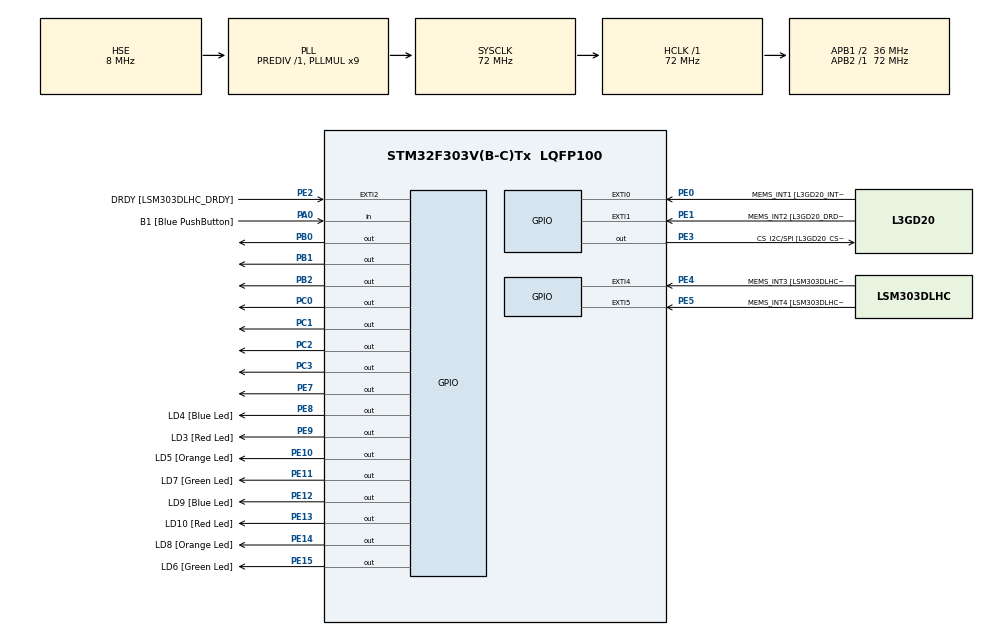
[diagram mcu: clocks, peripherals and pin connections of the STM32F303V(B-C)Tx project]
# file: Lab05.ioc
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Mcu.Family=STM32F3
Mcu.Name=STM32F303V(B-C)Tx
Mcu.Package=LQFP100
NVIC.PriorityGroup=NVIC_PRIORITYGROUP_0
PA0.GPIO_Label=B1 [Blue PushButton]
PA0.GPIO_Mode=GPIO_MODE_INPUT
PA0.GPIO_PuPd=GPIO_NOPULL
PA0.Signal=GPIO_Input
PA11.GPIO_Label=DM
PA11.Signal=USB_DM
PA12.GPIO_Label=DP
PA12.Signal=USB_DP
PA13.GPIO_Label=SWDIO
PA13.Signal=SYS_JTMS-SWDIO
PA14.GPIO_Label=SWCLK
PA14.Signal=SYS_JTCK-SWCLK
PA5.GPIO_Label=SPI1_SCK [L3GD20_SCL/SPC]
PA5.GPIO_Mode=GPIO_MODE_AF_PP
PA5.GPIO_PuPd=GPIO_NOPULL
PA5.GPIO_Speed=GPIO_SPEED_FREQ_LOW
PA5.Signal=SPI1_SCK
PA6.GPIO_Label=SPI1_MISO [L3GD20_SA0/SDO]
PA6.GPIO_Mode=GPIO_MODE_AF_PP
PA6.GPIO_PuPd=GPIO_NOPULL
PA6.GPIO_Speed=GPIO_SPEED_FREQ_LOW
PA6.Signal=SPI1_MISO
PA7.GPIO_Label=SPI1_MISO [L3GD20_SDA/SDI/SDO]
PA7.GPIO_Mode=GPIO_MODE_AF_PP
PA7.GPIO_PuPd=GPIO_NOPULL
PA7.GPIO_Speed=GPIO_SPEED_FREQ_LOW
PA7.Signal=SPI1_MOSI
PB0.Signal=GPIO_Output
PB1.Signal=GPIO_Output
PB2.Signal=GPIO_Output
PB3.GPIO_Label=SWO
PB3.Signal=SYS_JTDO-TRACESWO
PB6.GPIO_FM6=__NULL
PB6.GPIO_Label=I2C1_SCL [LSM303DLHC_SCL]
PB6.GPIO_Mode=GPIO_MODE_AF_OD
PB6.GPIO_PuPd=GPIO_NOPULL
PB6.GPIO_Speed=GPIO_SPEED_FREQ_LOW
PB6.Signal=I2C1_SCL
PB7.GPIO_FM7=__NULL
PB7.GPIO_Label=I2C1_SDA [LSM303DLHC_SDA]
PB7.GPIO_Mode=GPIO_MODE_AF_OD
PB7.GPIO_PuPd=GPIO_NOPULL
PB7.GPIO_Speed=GPIO_SPEED_FREQ_LOW
PB7.Signal=I2C1_SDA
PC0.Signal=GPIO_Output
PC1.Signal=GPIO_Output
PC14-OSC32_IN.GPIO_Label=OSC32_IN
PC14-OSC32_IN.Signal=RCC_OSC32_IN
PC15-OSC32_OUT.GPIO_Label=OSC32_OUT
PC15-OSC32_OUT.Signal=RCC_OSC32_OUT
PC2.Signal=GPIO_Output
PC3.Signal=GPIO_Output
PE0.GPIO_Label=MEMS_INT1 [L3GD20_INT1]
PE0.GPIO_ModeDefaultEXTI=GPIO_MODE_EVT_RISING
PE0.GPIO_PuPd=GPIO_NOPULL
PE0.Signal=GPXTI0
PE1.GPIO_Label=MEMS_INT2 [L3GD20_DRDY/INT2]
PE1.GPIO_ModeDefaultEXTI=GPIO_MODE_EVT_RISING
PE1.GPIO_PuPd=GPIO_NOPULL
PE1.Signal=GPXTI1
PE10.GPIO_Label=LD5 [Orange Led]
PE10.GPIO_ModeDefaultOutputPP=GPIO_MODE_OUTPUT_PP
PE10.GPIO_PuPd=GPIO_NOPULL
PE10.GPIO_Speed=GPIO_SPEED_FREQ_LOW
PE10.Signal=GPIO_Output
PE11.GPIO_Label=LD7 [Green Led]
PE11.GPIO_ModeDefaultOutputPP=GPIO_MODE_OUTPUT_PP
PE11.GPIO_PuPd=GPIO_NOPULL
PE11.GPIO_Speed=GPIO_SPEED_FREQ_LOW
PE11.Signal=GPIO_Output
PE12.GPIO_Label=LD9 [Blue Led]
PE12.GPIO_ModeDefaultOutputPP=GPIO_MODE_OUTPUT_PP
PE12.GPIO_PuPd=GPIO_NOPULL
PE12.GPIO_Speed=GPIO_SPEED_FREQ_LOW
PE12.Signal=GPIO_Output
PE13.GPIO_Label=LD10 [Red Led]
PE13.GPIO_ModeDefaultOutputPP=GPIO_MODE_OUTPUT_PP
PE13.GPIO_PuPd=GPIO_NOPULL
PE13.GPIO_Speed=GPIO_SPEED_FREQ_LOW
PE13.Signal=GPIO_Output
PE14.GPIO_Label=LD8 [Orange Led]
PE14.GPIO_ModeDefaultOutputPP=GPIO_MODE_OUTPUT_PP
PE14.GPIO_PuPd=GPIO_NOPULL
PE14.GPIO_Speed=GPIO_SPEED_FREQ_LOW
PE14.Signal=GPIO_Output
PE15.GPIO_Label=LD6 [Green Led]
PE15.GPIO_ModeDefaultOutputPP=GPIO_MODE_OUTPUT_PP
PE15.GPIO_PuPd=GPIO_NOPULL
PE15.GPIO_Speed=GPIO_SPEED_FREQ_LOW
PE15.Signal=GPIO_Output
PE2.GPIO_Label=DRDY [LSM303DLHC_DRDY]
PE2.GPIO_ModeDefaultEXTI=GPIO_MODE_EVT_RISING
PE2.GPIO_PuPd=GPIO_NOPULL
PE2.Signal=GPXTI2
PE3.GPIO_Label=CS_I2C/SPI [L3GD20_CS_I2C/SPI]
PE3.GPIO_ModeDefaultOutputPP=GPIO_MODE_OUTPUT_PP
PE3.GPIO_PuPd=GPIO_NOPULL
PE3.GPIO_Speed=GPIO_SPEED_FREQ_LOW
PE3.Signal=GPIO_Output
PE4.GPIO_Label=MEMS_INT3 [LSM303DLHC_INT1]
PE4.GPIO_ModeDefaultEXTI=GPIO_MODE_EVT_RISING
PE4.GPIO_PuPd=GPIO_NOPULL
PE4.Signal=GPXTI4
PE5.GPIO_Label=MEMS_INT4 [LSM303DLHC_INT2]
PE5.GPIO_ModeDefaultEXTI=GPIO_MODE_EVT_RISING
PE5.GPIO_PuPd=GPIO_NOPULL
PE5.Signal=GPXTI5
PE7.Signal=GPIO_Output
PE8.GPIO_Label=LD4 [Blue Led]
PE8.GPIO_ModeDefaultOutputPP=GPIO_MODE_OUTPUT_PP
PE8.GPIO_PuPd=GPIO_NOPULL
PE8.GPIO_Speed=GPIO_SPEED_FREQ_LOW
PE8.Signal=GPIO_Output
PE9.GPIO_Label=LD3 [Red Led]
PE9.GPIO_ModeDefaultOutputPP=GPIO_MODE_OUTPUT_PP
PE9.GPIO_PuPd=GPIO_NOPULL
PE9.GPIO_Speed=GPIO_SPEED_FREQ_LOW
PE9.Signal=GPIO_Output
PF0-OSC_IN.GPIO_Label=OSC_IN
PF0-OSC_IN.Mode=HSE-External-Clock-Source
PF0-OSC_IN.Signal=RCC_OSC_IN
PF1-OSC_OUT.GPIO_Label=OSC_OUT
PF1-OSC_OUT.Signal=RCC_OSC_OUT
ProjectManager.HeapSize=0x200
ProjectManager.StackSize=0x400
ProjectManager.TargetToolchain=MDK-ARM V5
RCC.AHBFreq_Value=72000000
RCC.APB1CLKDivider=RCC_HCLK_DIV2
RCC.APB1Freq_Value=36000000
RCC.APB1TimFreq_Value=72000000
RCC.APB2Freq_Value=72000000
RCC.APB2TimFreq_Value=72000000
RCC.CortexFreq_Value=72000000
RCC.HCLKFreq_Value=72000000
RCC.HSE_VALUE=8000000
RCC.HSI_VALUE=8000000
RCC.LSE_VALUE=32768
RCC.PLLMUL=RCC_PLL_MUL9
RCC.PLLSourceVirtual=RCC_PLLSOURCE_HSE
RCC.SYSCLKFreq_VALUE=72000000
RCC.SYSCLKSourceVirtual=RCC_SYSCLKSOURCE_PLLCLK
RCC.USBFreq_Value=72000000
board=STM32F3DISCOVERY

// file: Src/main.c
/* USER CODE BEGIN Header */
/**
  ******************************************************************************
  * @file           : main.c
  * @brief          : Main program body
  ******************************************************************************
  * @attention
  *
  * <h2><center>&copy; Copyright (c) 2019 STMicroelectronics.
  * All rights reserved.</center></h2>
  *
  * This software component is licensed by ST under BSD 3-Clause license,
  * the "License"; You may not use this file except in compliance with the
  * License. You may obtain a copy of the License at:
  *                        opensource.org/licenses/BSD-3-Clause
  *
  ******************************************************************************
  */
/* USER CODE END Header */

#include "main.h"

/* USER CODE BEGIN Includes */
#include "koibitoex_lcd2.h"
/* USER CODE END Includes */

void SystemClock_Config(void);
static void MX_GPIO_Init(void);

int main(void)
{

  /* MCU Configuration--------------------------------------------------------*/

  /* Reset of all peripherals, Initializes the Flash interface and the Systick. */
  HAL_Init();

  /* Configure the system clock */
  SystemClock_Config();

  /* Initialize all configured peripherals */
  MX_GPIO_Init();
  /* USER CODE BEGIN 2 */
	uint8_t Str1[] = "Cursor On";
	uint8_t Str2[20];
	uint16_t round = 1;

	LcdInit();
  /* USER CODE END 2 */

  /* Infinite loop */
  /* USER CODE BEGIN WHILE */
  while (1)
  {
		LcdCls(LCD_CLS_ALL);
    LcdSetCursor(LCD_CURSOR_OFF);
    LcdSetPosition(LCD_LINE_1, 0);
    LcdPutS((uint8_t *)"Hello Embedded!");
    HAL_Delay(2000);

    LcdCls(LCD_CLS_LINE_1);
    LcdSetCursor(LCD_CURSOR_ON);
    LcdSetPosition(LCD_LINE_2, 5);
    LcdPutS(Str1);
    HAL_Delay(2000);

    LcdCls(LCD_CLS_LINE_2);
    LcdSetCursor(LCD_CURSOR_OFF);
    LcdSetPosition(LCD_LINE_1, 1);
    sprintf((char *)Str2, "Round : %d", round);
    LcdPutS(Str2);
    round++;
    HAL_Delay(2000);

    LcdCls(LCD_CLS_LINE_1);
    LcdSetPosition(LCD_LINE_1, 2);
    LcdPutCh('B');
    LcdPutS((uint8_t *)"acklight Test");
    LcdSetCursor(LCD_CURSOR_OFF);
    LcdSetBackLight(LCD_BACKLIGHT_OFF);
    HAL_Delay(1000);
    LcdSetBackLight(LCD_BACKLIGHT_ON);
    HAL_Delay(1000);
    /* USER CODE END WHILE */

  }
}

void SystemClock_Config(void)
{
  RCC_OscInitTypeDef RCC_OscInitStruct = {0};
  RCC_ClkInitTypeDef RCC_ClkInitStruct = {0};

  /** Initializes the CPU, AHB and APB busses clocks
  */
  RCC_OscInitStruct.OscillatorType = RCC_OSCILLATORTYPE_HSE;
  RCC_OscInitStruct.HSEState = RCC_HSE_BYPASS;
  RCC_OscInitStruct.HSEPredivValue = RCC_HSE_PREDIV_DIV1;
  RCC_OscInitStruct.HSIState = RCC_HSI_ON;
  RCC_OscInitStruct.PLL.PLLState = RCC_PLL_ON;
  RCC_OscInitStruct.PLL.PLLSource = RCC_PLLSOURCE_HSE;
  RCC_OscInitStruct.PLL.PLLMUL = RCC_PLL_MUL9;
  if (HAL_RCC_OscConfig(&RCC_OscInitStruct) != HAL_OK)
  {
    Error_Handler();
  }
  /** Initializes the CPU, AHB and APB busses clocks
  */
  RCC_ClkInitStruct.ClockType = RCC_CLOCKTYPE_HCLK|RCC_CLOCKTYPE_SYSCLK
                              |RCC_CLOCKTYPE_PCLK1|RCC_CLOCKTYPE_PCLK2;
  RCC_ClkInitStruct.SYSCLKSource = RCC_SYSCLKSOURCE_PLLCLK;
  RCC_ClkInitStruct.AHBCLKDivider = RCC_SYSCLK_DIV1;
  RCC_ClkInitStruct.APB1CLKDivider = RCC_HCLK_DIV2;
  RCC_ClkInitStruct.APB2CLKDivider = RCC_HCLK_DIV1;

  if (HAL_RCC_ClockConfig(&RCC_ClkInitStruct, FLASH_LATENCY_2) != HAL_OK)
  {
    Error_Handler();
  }
}

static void MX_GPIO_Init(void)
{
  GPIO_InitTypeDef GPIO_InitStruct = {0};

  /* GPIO Ports Clock Enable */
  __HAL_RCC_GPIOE_CLK_ENABLE();
  __HAL_RCC_GPIOC_CLK_ENABLE();
  __HAL_RCC_GPIOF_CLK_ENABLE();
  __HAL_RCC_GPIOA_CLK_ENABLE();
  __HAL_RCC_GPIOB_CLK_ENABLE();

  /*Configure GPIO pin Output Level */
  HAL_GPIO_WritePin(GPIOE, CS_I2C_SPI_Pin|GPIO_PIN_7|LD4_Pin|LD3_Pin
                          |LD5_Pin|LD7_Pin|LD9_Pin|LD10_Pin
                          |LD8_Pin|LD6_Pin, GPIO_PIN_RESET);

  /*Configure GPIO pin Output Level */
  HAL_GPIO_WritePin(GPIOC, GPIO_PIN_0|GPIO_PIN_1|GPIO_PIN_2|GPIO_PIN_3, GPIO_PIN_RESET);

  /*Configure GPIO pin Output Level */
  HAL_GPIO_WritePin(GPIOB, GPIO_PIN_0|GPIO_PIN_1|GPIO_PIN_2, GPIO_PIN_RESET);

  /*Configure GPIO pins : DRDY_Pin MEMS_INT3_Pin MEMS_INT4_Pin MEMS_INT1_Pin
                           MEMS_INT2_Pin */
  GPIO_InitStruct.Pin = DRDY_Pin|MEMS_INT3_Pin|MEMS_INT4_Pin|MEMS_INT1_Pin
                          |MEMS_INT2_Pin;
  GPIO_InitStruct.Mode = GPIO_MODE_EVT_RISING;
  GPIO_InitStruct.Pull = GPIO_NOPULL;
  HAL_GPIO_Init(GPIOE, &GPIO_InitStruct);

  /*Configure GPIO pins : CS_I2C_SPI_Pin PE7 LD4_Pin LD3_Pin
                           LD5_Pin LD7_Pin LD9_Pin LD10_Pin
                           LD8_Pin LD6_Pin */
  GPIO_InitStruct.Pin = CS_I2C_SPI_Pin|GPIO_PIN_7|LD4_Pin|LD3_Pin
                          |LD5_Pin|LD7_Pin|LD9_Pin|LD10_Pin
                          |LD8_Pin|LD6_Pin;
  GPIO_InitStruct.Mode = GPIO_MODE_OUTPUT_PP;
  GPIO_InitStruct.Pull = GPIO_NOPULL;
  GPIO_InitStruct.Speed = GPIO_SPEED_FREQ_LOW;
  HAL_GPIO_Init(GPIOE, &GPIO_InitStruct);

  /*Configure GPIO pins : PC0 PC1 PC2 PC3 */
  GPIO_InitStruct.Pin = GPIO_PIN_0|GPIO_PIN_1|GPIO_PIN_2|GPIO_PIN_3;
  GPIO_InitStruct.Mode = GPIO_MODE_OUTPUT_PP;
  GPIO_InitStruct.Pull = GPIO_NOPULL;
  GPIO_InitStruct.Speed = GPIO_SPEED_FREQ_LOW;
  HAL_GPIO_Init(GPIOC, &GPIO_InitStruct);

  /*Configure GPIO pin : B1_Pin */
  GPIO_InitStruct.Pin = B1_Pin;
  GPIO_InitStruct.Mode = GPIO_MODE_INPUT;
  GPIO_InitStruct.Pull = GPIO_NOPULL;
  HAL_GPIO_Init(B1_GPIO_Port, &GPIO_InitStruct);

  /*Configure GPIO pins : SPI1_SCK_Pin SPI1_MISO_Pin SPI1_MISOA7_Pin */
  GPIO_InitStruct.Pin = SPI1_SCK_Pin|SPI1_MISO_Pin|SPI1_MISOA7_Pin;
  GPIO_InitStruct.Mode = GPIO_MODE_AF_PP;
  GPIO_InitStruct.Pull = GPIO_NOPULL;
  GPIO_InitStruct.Speed = GPIO_SPEED_FREQ_LOW;
  GPIO_InitStruct.Alternate = GPIO_AF5_SPI1;
  HAL_GPIO_Init(GPIOA, &GPIO_InitStruct);

  /*Configure GPIO pins : PB0 PB1 PB2 */
  GPIO_InitStruct.Pin = GPIO_PIN_0|GPIO_PIN_1|GPIO_PIN_2;
  GPIO_InitStruct.Mode = GPIO_MODE_OUTPUT_PP;
  GPIO_InitStruct.Pull = GPIO_NOPULL;
  GPIO_InitStruct.Speed = GPIO_SPEED_FREQ_LOW;
  HAL_GPIO_Init(GPIOB, &GPIO_InitStruct);

  /*Configure GPIO pins : DM_Pin DP_Pin */
  GPIO_InitStruct.Pin = DM_Pin|DP_Pin;
  GPIO_InitStruct.Mode = GPIO_MODE_AF_PP;
  GPIO_InitStruct.Pull = GPIO_NOPULL;
  GPIO_InitStruct.Speed = GPIO_SPEED_FREQ_HIGH;
  GPIO_InitStruct.Alternate = GPIO_AF14_USB;
  HAL_GPIO_Init(GPIOA, &GPIO_InitStruct);

  /*Configure GPIO pins : I2C1_SCL_Pin I2C1_SDA_Pin */
  GPIO_InitStruct.Pin = I2C1_SCL_Pin|I2C1_SDA_Pin;
  GPIO_InitStruct.Mode = GPIO_MODE_AF_OD;
  GPIO_InitStruct.Pull = GPIO_PULLUP;
  GPIO_InitStruct.Speed = GPIO_SPEED_FREQ_LOW;
  GPIO_InitStruct.Alternate = GPIO_AF4_I2C1;
  HAL_GPIO_Init(GPIOB, &GPIO_InitStruct);

}

void Error_Handler(void)
{
}

/************************ (C) COPYRIGHT STMicroelectronics *****END OF FILE****/
